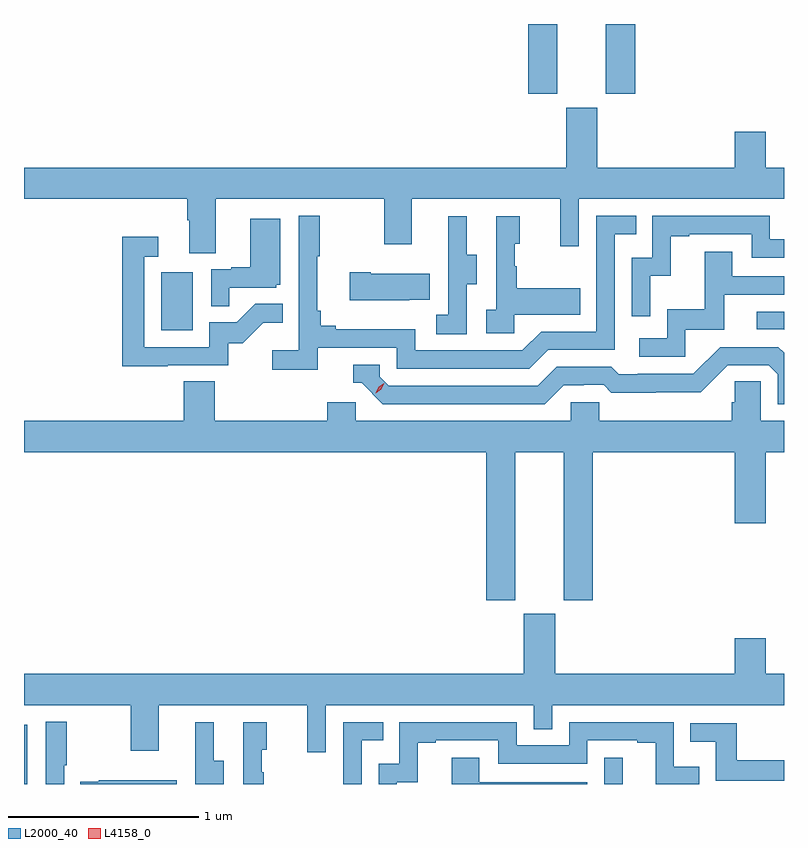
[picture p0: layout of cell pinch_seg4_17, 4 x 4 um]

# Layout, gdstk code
import gdstk
lib = gdstk.Library(unit=1e-6, precision=1e-09)
def R(c, l, rs):  # rectangles x0, y0, x1, y1
    for r in rs: c.add(gdstk.rectangle(r[:2], r[2:], *l))
def P(c, l, *ps):  # polygons
    for p in ps: c.add(gdstk.Polygon(p, *l))
L2000_40 = (2000, 40)
L4158_0 = (4158, 0)

pinch_seg4_17 = lib.new_cell('pinch_seg4_17')
R(pinch_seg4_17, L2000_40, [(1108.319,824.377,1108.336,824.689), (1111.374,824.377,1111.471,824.515), (1109.042,826.764,1109.206,827.071), (1110.974,828.009,1111.126,828.377), (1111.382,828.009,1111.535,828.377)])
P(pinch_seg4_17, L2000_40, [(1109.329,827.456),(1110.214,827.456),(1110.214,827.217),(1110.361,827.217),(1110.361,827.456),(1111.142,827.456),(1111.142,827.208),(1111.239,827.208),(1111.239,827.456),(1112.319,827.456),(1112.319,827.62),(1112.224,827.62),(1112.224,827.809),(1112.06,827.809),(1112.06,827.62),(1111.336,827.62),(1111.336,827.937),(1111.172,827.937),(1111.172,827.62),(1108.319,827.62),(1108.319,827.456),(1109.177,827.456),(1109.177,827.344),(1109.189,827.344),(1109.189,827.17),(1109.329,827.17)],
  [(1109.864,826.674),(1110.282,826.674),(1110.282,826.563),(1110.979,826.563),(1111.078,826.662),(1111.428,826.662),(1111.428,827.271),(1111.541,827.271),(1111.541,827.367),(1111.332,827.367),(1111.332,826.758),(1111.041,826.758),(1110.942,826.659),(1110.378,826.659),(1110.378,826.771),(1109.959,826.771),(1109.959,826.79),(1109.882,826.79),(1109.882,826.867),(1109.863,826.867),(1109.863,827.155),(1109.875,827.155),(1109.875,827.368),(1109.766,827.368),(1109.766,826.66),(1109.625,826.66),(1109.625,826.558),(1109.864,826.558)],
  [(1111.614,827.051),(1111.724,827.051),(1111.724,827.259),(1111.819,827.259),(1111.819,827.271),(1112.148,827.271),(1112.148,827.148),(1112.319,827.148),(1112.319,827.244),(1112.244,827.244),(1112.244,827.367),(1111.626,827.367),(1111.626,827.148),(1111.518,827.148),(1111.518,826.839),(1111.614,826.839)],
  [(1110.9,826.847),(1111.247,826.847),(1111.247,826.987),(1110.913,826.987),(1110.913,827.102),(1110.903,827.102),(1110.903,827.22),(1110.928,827.22),(1110.928,827.365),(1110.804,827.365),(1110.804,826.874),(1110.753,826.874),(1110.753,826.749),(1110.9,826.749)],
  [(1110.648,827.008),(1110.703,827.008),(1110.703,827.163),(1110.649,827.163),(1110.649,827.365),(1110.551,827.365),(1110.551,827.151),(1110.552,827.151),(1110.552,826.847),(1110.489,826.847),(1110.489,826.744),(1110.648,826.744)],
  [(1109.399,826.989),(1109.646,826.989),(1109.646,827.004),(1109.668,827.004),(1109.668,827.353),(1109.51,827.353),(1109.51,827.098),(1109.411,827.098),(1109.411,827.085),(1109.304,827.085),(1109.304,826.891),(1109.399,826.891)],
  [(1109.075,826.581),(1109.394,826.581),(1109.394,826.698),(1109.47,826.698),(1109.577,826.805),(1109.681,826.805),(1109.681,826.904),(1109.537,826.904),(1109.439,826.806),(1109.295,826.806),(1109.295,826.677),(1108.953,826.677),(1108.953,827.151),(1109.026,827.151),(1109.026,827.257),(1108.837,827.257),(1108.837,826.576),(1109.075,826.576)],
  [(1111.8,826.767),(1112.005,826.767),(1112.005,826.953),(1112.319,826.953),(1112.319,827.049),(1112.047,827.049),(1112.047,827.179),(1111.903,827.179),(1111.903,826.876),(1111.704,826.876),(1111.704,826.722),(1111.557,826.722),(1111.557,826.626),(1111.8,826.626)],
  [(1110.347,826.925),(1110.455,826.925),(1110.455,827.062),(1110.145,827.062),(1110.145,827.07),(1110.033,827.07),(1110.033,826.922),(1110.347,826.922)],
  [(1112.319,826.863),(1112.175,826.863),(1112.175,826.77),(1112.316,826.77),(1112.319,826.767)],
  [(1111.159,826.476),(1111.266,826.476),(1111.266,826.479),(1111.369,826.479),(1111.411,826.437),(1111.644,826.437),(1111.644,826.439),(1111.88,826.439),(1112.022,826.581),(1112.238,826.581),(1112.286,826.533),(1112.286,826.377),(1112.319,826.377),(1112.319,826.647),(1112.289,826.677),(1111.983,826.677),(1111.842,826.536),(1111.549,826.536),(1111.549,826.533),(1111.45,826.533),(1111.411,826.572),(1111.122,826.572),(1111.023,826.473),(1110.24,826.473),(1110.192,826.521),(1110.192,826.584),(1110.053,826.584),(1110.053,826.488),(1110.096,826.488),(1110.207,826.377),(1111.06,826.377)],
  [(1110.904,826.124),(1111.16,826.124),(1111.16,825.345),(1111.313,825.345),(1111.313,826.124),(1112.06,826.124),(1112.06,825.75),(1112.224,825.75),(1112.224,826.124),(1112.319,826.124),(1112.319,826.288),(1112.196,826.288),(1112.196,826.496),(1112.059,826.496),(1112.059,826.386),(1112.045,826.386),(1112.045,826.288),(1111.347,826.288),(1111.347,826.386),(1111.197,826.386),(1111.197,826.288),(1110.066,826.288),(1110.066,826.386),(1109.915,826.386),(1109.915,826.288),(1109.324,826.288),(1109.324,826.496),(1109.159,826.496),(1109.159,826.288),(1108.319,826.288),(1108.319,826.124),(1110.752,826.124),(1110.752,825.345),(1110.904,825.345)],
  [(1111.002,824.665),(1111.098,824.665),(1111.098,824.792),(1112.319,824.792),(1112.319,824.956),(1112.224,824.956),(1112.224,825.145),(1112.06,825.145),(1112.06,824.956),(1111.114,824.956),(1111.114,825.273),(1110.95,825.273),(1110.95,824.956),(1108.319,824.956),(1108.319,824.792),(1108.882,824.792),(1108.882,824.553),(1109.029,824.553),(1109.029,824.792),(1109.81,824.792),(1109.81,824.544),(1109.907,824.544),(1109.907,824.792),(1111.002,824.792)],
  [(1108.53,824.476),(1108.543,824.476),(1108.543,824.704),(1108.434,824.704),(1108.434,824.377),(1108.53,824.377)],
  [(1110.096,824.607),(1110.209,824.607),(1110.209,824.703),(1110,824.703),(1110,824.377),(1110.096,824.377)],
  [(1110.282,824.387),(1110.392,824.387),(1110.392,824.595),(1110.487,824.595),(1110.487,824.607),(1110.816,824.607),(1110.816,824.484),(1111.284,824.484),(1111.284,824.607),(1111.547,824.607),(1111.547,824.595),(1111.643,824.595),(1111.643,824.377),(1111.872,824.377),(1111.872,824.467),(1111.74,824.467),(1111.74,824.703),(1111.188,824.703),(1111.188,824.58),(1110.912,824.58),(1110.912,824.703),(1110.294,824.703),(1110.294,824.484),(1110.186,824.484),(1110.186,824.377),(1110.282,824.377)],
  [(1109.371,824.499),(1109.317,824.499),(1109.317,824.701),(1109.219,824.701),(1109.219,824.487),(1109.22,824.487),(1109.22,824.377),(1109.371,824.377)],
  [(1109.581,824.438),(1109.571,824.438),(1109.571,824.556),(1109.596,824.556),(1109.596,824.701),(1109.472,824.701),(1109.472,824.377),(1109.581,824.377)],
  [(1112.319,824.503),(1112.071,824.503),(1112.071,824.697),(1111.825,824.697),(1111.825,824.6),(1111.96,824.6),(1111.96,824.394),(1112.319,824.394)],
  [(1111.284,824.385),(1110.715,824.385),(1110.715,824.515),(1110.571,824.515),(1110.571,824.377),(1111.284,824.377)],
  [(1109.123,824.398),(1108.713,824.398),(1108.713,824.388),(1108.615,824.388),(1108.615,824.377),(1109.123,824.377)])
P(pinch_seg4_17, L4158_0, [(1110.169,826.434),(1110.169,826.434),(1110.185,826.467),(1110.216,826.487),(1110.216,826.487),(1110.216,826.487),(1110.2,826.454),(1110.17,826.434)])

lib.write_gds('pinch_seg4_17.gds')
